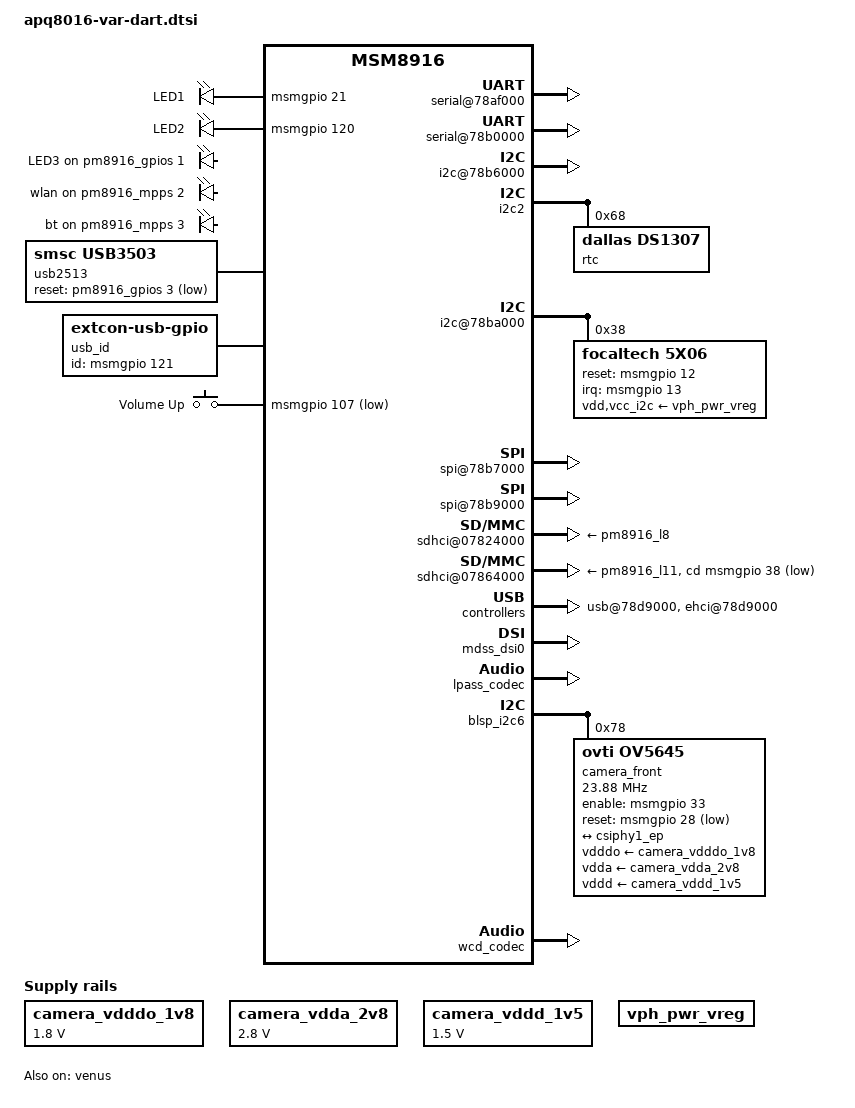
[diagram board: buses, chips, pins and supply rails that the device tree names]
/*
 * Copyright (c) 2015, The Linux Foundation. All rights reserved.
 *
 * This program is free software; you can redistribute it and/or modify
 * it under the terms of the GNU General Public License version 2 and
 * only version 2 as published by the Free Software Foundation.
 *
 * This program is distributed in the hope that it will be useful,
 * but WITHOUT ANY WARRANTY; without even the implied warranty of
 * MERCHANTABILITY or FITNESS FOR A PARTICULAR PURPOSE.  See the
 * GNU General Public License for more details.
 */

#include "msm8916.dtsi"
#include "pm8916.dtsi"
#include "apq8016-var-dart-soc-pins.dtsi"
#include "apq8016-var-dart-pmic-pins.dtsi"
#include <dt-bindings/gpio/gpio.h>
#include <dt-bindings/input/input.h>
#include <dt-bindings/sound/apq8016-lpass.h>

/ {
	aliases {
		serial0 = &blsp1_uart2;
		serial1 = &blsp1_uart1;
		usid0 = &pm8916_0;
		i2c0	= &blsp_i2c2;
		i2c1	= &blsp_i2c6;
		i2c3	= &blsp_i2c4;
		spi0	= &blsp_spi5;
		spi1	= &blsp_spi3;
	};

	chosen {
		stdout-path = "serial0";
	};

	soc {
		dma@7884000 {
			status = "okay";
		};

		serial@78af000 {
			label = "UART0";
			status = "okay";
			pinctrl-names = "default", "sleep";
			pinctrl-0 = <&blsp1_uart1_default>;
			pinctrl-1 = <&blsp1_uart1_sleep>;
		};

		serial@78b0000 {
			label = "UART1";
			status = "okay";
			pinctrl-names = "default", "sleep";
			pinctrl-0 = <&blsp1_uart2_default>;
			pinctrl-1 = <&blsp1_uart2_sleep>;
		};

		i2c@78b6000 {
			label = "I2C0";
			status = "okay";
		};

		i2c2:i2c@78b8000 {
			label = "I2C2";
			status = "okay";

			/* DS1307 RTC module */
 			rtc@0x68 {
				reg = <0x68>;
 				compatible = "dallas,ds1307";
			};
		};

		i2c@78ba000 {
			label = "I2C1";
			status = "okay";

			focaltech@38{
				compatible = "focaltech,5x06";
				reg = <0x38>;
				interrupt-parent = <&msmgpio>;
				interrupts = <13 0x2>;
				vdd-supply = <&vph_pwr_vreg>;
				vcc_i2c-supply = <&vph_pwr_vreg>;
				pinctrl-names = "pmx_ts_active","pmx_ts_suspend";
				pinctrl-0 = <&pmx_ts_int_active &pmx_ts_reset_active>;
				pinctrl-1 = <&pmx_ts_int_suspend &pmx_ts_reset_suspend>;
				focaltech,name = "ft5x06";
				focaltech,family-id = <0x54>;
				focaltech,reset-gpio = <&msmgpio 12 GPIO_ACTIVE_HIGH>;
				focaltech,irq-gpio = <&msmgpio 13 GPIO_ACTIVE_HIGH>;
				focaltech,display-coords = <0 0 800 480>;
				focaltech,hard-reset-delay-ms = <50>;
				focaltech,soft-reset-delay-ms = <50>;
				focaltech,no-force-update;
				focaltech,i2c-pull-up;
				focaltech,group-id = <1>;
				focaltech,hard-reset-delay = <20>;
				focaltech,soft-reset-delay = <150>;
				focaltech,num-max-touches = <2>;
				focaltech,fw-name = "ft_8610_qrd_fw.bin";
				focaltech,fw-delay-aa-ms = <100>;
				focaltech,fw-delay-55-ms = <30>;
				focaltech,fw-upgrade-id1 = <0x79>;
				focaltech,fw-upgrade-id2 = <0x08>;
				focaltech,fw-delay-readid-ms = <10>;
				focaltech,fw-delay-era-flsh-ms = <2000>;
				focaltech,fw-auto-cal;
				focaltech,mirror_h;
				focaltech,mirror_v;
			};
		};

		spi@78b7000 {
			label = "SPI1";
			status = "okay";
			spidev@1 {
				compatible = "spidev";
				spi-max-frequency = <50000000>;
				reg = <0>;
				spi-cpol = <1>;
				spi-cpha = <1>;
				status = "disabled";
			};
		};

		spi@78b9000 {
			label = "SPI0";
			status = "okay";
			spidev@0 {
				compatible = "spidev";
				spi-max-frequency = <50000000>;
				reg = <0>;
				spi-cpol = <1>;
				spi-cpha = <1>;
				status = "disabled";
			};
		};

		leds {
			pinctrl-names = "default";
			pinctrl-0 = <&msmgpio_leds>,
				    <&pm8916_gpios_leds>,
				    <&pm8916_mpps_leds>;

			compatible = "gpio-leds";

			led@1 {
				label = "LED1";
				gpios = <&msmgpio 21 GPIO_ACTIVE_HIGH>;
				linux,default-trigger = "heartbeat";
				default-state = "off";
			};

			led@2 {
				label = "LED2";
				gpios = <&msmgpio 120 GPIO_ACTIVE_HIGH>;
				linux,default-trigger = "mmc0";
				default-state = "off";
			};

			led@3 {
				label = "LED3";
				gpios = <&pm8916_gpios 1 GPIO_ACTIVE_HIGH>;
				linux,default-trigger = "mmc1";
				default-state = "off";
			};

			led@4 {
				label = "LED4";
				gpios = <&pm8916_gpios 2 GPIO_ACTIVE_HIGH>;
				linux,default-trigger = "none";
				default-state = "off";
				status = "disabled";
			};

			led@5 {
				label = "wlan";
				gpios = <&pm8916_mpps 2 GPIO_ACTIVE_HIGH>;
				linux,default-trigger = "phy0rx";
				default-state = "off";
			};

			led@6 {
				label = "bt";
				gpios = <&pm8916_mpps 3 GPIO_ACTIVE_HIGH>;
				linux,default-trigger = "hci0-power";
				default-state = "off";
			};
		};

		sdhci@07824000 {
			vmmc-supply = <&pm8916_l8>;
			vqmmc-supply = <&pm8916_l5>;

			pinctrl-names = "default", "sleep";
			pinctrl-0 = <&sdc1_clk_on &sdc1_cmd_on &sdc1_data_on>;
			pinctrl-1 = <&sdc1_clk_off &sdc1_cmd_off &sdc1_data_off>;
			status = "okay";
		};

		sdhci@07864000 {
			vmmc-supply = <&pm8916_l11>;
			vqmmc-supply = <&pm8916_l12>;

			pinctrl-names = "default", "sleep";
			pinctrl-0 = <&sdc2_clk_on &sdc2_cmd_on &sdc2_data_on &sdc2_cd_on>;
			pinctrl-1 = <&sdc2_clk_off &sdc2_cmd_off &sdc2_data_off &sdc2_cd_off>;

			cd-gpios = <&msmgpio 38 GPIO_ACTIVE_LOW>;
			status = "okay";
		};

		usb@78d9000 {
			extcon = <&usb_id>, <&usb_id>;
			status = "okay";
		};

		ehci@78d9000 {
			status = "okay";
		};

		phy@78d9000 {
			v1p8-supply = <&pm8916_l7>;
			v3p3-supply = <&pm8916_l13>;
			vddcx-supply = <&pm8916_s1>;
			extcon = <&usb_id>, <&usb_id>;
			dr_mode = "otg";
			status = "okay";
			switch-gpio = <&pm8916_gpios 4 GPIO_ACTIVE_HIGH>;
			pinctrl-names = "default";
			pinctrl-0 = <&usb_sw_sel_pm>;
		};

		lpass@07708000 {
			status = "okay";
		};

		mdss@1a00000 {
			status = "okay";

			mdp@1a01000 {
				status = "okay";
			};

			mdss_dsi0:dsi@1a98000 {
				status = "okay";

				vdda-supply = <&pm8916_l2>;
				vddio-supply = <&pm8916_l6>;
			};

			dsi-phy@1a98300 {
				status = "okay";

				vddio-supply = <&pm8916_l6>;
			};
		};

		lpass_codec: codec{
			status = "okay";
		};

		/*
		Internal Codec
			playback - Primary MI2S
			capture - Ter MI2S

		External Primary:
			playback - secondary MI2S
			capture - Quat MI2S

		External Secondary:
			playback - Quat MI2S
			capture - Quat MI2S

		*/

                sound: sound {
                        compatible = "qcom,apq8016-sbc-sndcard";
                        reg = <0x07702000 0x4>, <0x07702004 0x4>;
                        reg-names = "mic-iomux", "spkr-iomux";

                        status = "okay";
                        pinctrl-0 = <&cdc_pdm_lines_act &ext_sec_tlmm_lines_act &ext_mclk_tlmm_lines_act>;
                        pinctrl-1 = <&cdc_pdm_lines_sus &ext_sec_tlmm_lines_sus &ext_mclk_tlmm_lines_sus>;
                        pinctrl-names = "default", "sleep";
                        qcom,model = "DB410c";
                        qcom,audio-routing =
                                "AMIC2", "MIC BIAS Internal2",
                                "AMIC3", "MIC BIAS External1";

                        internal-codec-playback-dai-link@0 {            /* I2S - Internal codec */
                                link-name = "WCD";
                                cpu { /* PRIMARY */
                                        sound-dai = <&lpass MI2S_PRIMARY>;
                                };
                                codec {
                                        sound-dai = <&lpass_codec 0>, <&wcd_codec 0>;
                                };
                        };

                        internal-codec-capture-dai-link@0 {             /* I2S - Internal codec */
                                link-name = "WCD-Capture";
                                cpu { /* PRIMARY */
                                        sound-dai = <&lpass MI2S_TERTIARY>;
                                };
                                codec {
                                        sound-dai = <&lpass_codec 1>, <&wcd_codec 1>;
                                };
                        };
                };

		wcnss@a21b000 {
			status = "okay";
		};

		camera_vdddo_1v8: fixedregulator@0 {
			compatible = "regulator-fixed";
			regulator-name = "camera_vdddo";
			regulator-min-microvolt = <1800000>;
			regulator-max-microvolt = <1800000>;
			regulator-always-on;
		};

		camera_vdda_2v8: fixedregulator@1 {
			compatible = "regulator-fixed";
			regulator-name = "camera_vdda";
			regulator-min-microvolt = <2800000>;
			regulator-max-microvolt = <2800000>;
			regulator-always-on;
		};

		camera_vddd_1v5: fixedregulator@2 {
			compatible = "regulator-fixed";
			regulator-name = "camera_vddd";
			regulator-min-microvolt = <1500000>;
			regulator-max-microvolt = <1500000>;
			regulator-always-on;
		};

		vph_pwr_vreg: vph_pwr_vreg {
			compatible = "regulator-fixed";
			regulator-name = "vph_pwr";
			status = "ok";
			regulator-always-on;
		}; 
	};

	usb2513 {
		compatible = "smsc,usb3503";
		reset-gpios = <&pm8916_gpios 3 GPIO_ACTIVE_LOW>;
		initial-mode = <1>;
	};

	usb_id: usb-id {
		compatible = "linux,extcon-usb-gpio";
		id-gpio = <&msmgpio 121 GPIO_ACTIVE_HIGH>;
		pinctrl-names = "default";
		pinctrl-0 = <&usb_id_default>;
	};

	gpio_keys {
		compatible = "gpio-keys";
		#address-cells = <1>;
		#size-cells = <0>;
		autorepeat;

		pinctrl-names = "default";
		pinctrl-0 = <&msm_key_volp_n_default>;

		button@0 {
			label = "Volume Up";
			linux,code = <KEY_VOLUMEUP>;
			gpios = <&msmgpio 107 GPIO_ACTIVE_LOW>;
		};
	};
};

&camss {
	ports {
		#address-cells = <1>;
		#size-cells = <0>;
		port@0 {
			reg = <0>;
			csiphy0_ep: endpoint {
				status = "disabled";
			};
		};
		port@1 {
			reg = <1>;
			csiphy1_ep: endpoint {
				clock-lanes = <1>;
				data-lanes = <0 2>;
				remote-endpoint = <&ov5645_ep>;
				status = "ok";
			};
		};
	};
};

&blsp_i2c6 {
	status = "ok";

	camera_front@78 {
		compatible = "ovti,ov5645";
		reg = <0x78>;

		enable-gpios = <&msmgpio 33 GPIO_ACTIVE_HIGH>;
		reset-gpios = <&msmgpio 28 GPIO_ACTIVE_LOW>;
		pinctrl-names = "default";
		pinctrl-0 = <&camera_front_default>;

		clocks = <&gcc GCC_CAMSS_MCLK1_CLK>;
		clock-names = "xclk";
		clock-frequency = <23880000>;

		vdddo-supply = <&camera_vdddo_1v8>;
		vdda-supply = <&camera_vdda_2v8>;
		vddd-supply = <&camera_vddd_1v5>;

		status = "ok";

		port {
			ov5645_ep: endpoint {
				clock-lanes = <1>;
				data-lanes = <0 2>;
				remote-endpoint = <&csiphy1_ep>;
			};
		};
	};
};

&wcd_codec {
        status = "okay";
        clocks = <&gcc GCC_CODEC_DIGCODEC_CLK>;
        clock-names = "mclk";
};

&spmi_pon {
	// Overwrite RESETIN_N keyboard scan code
	linux,code = <KEY_VOLUMEDOWN>;
};

&smd_rpm_regulators {
	vdd_l1_l2_l3-supply = <&pm8916_s3>;
	vdd_l5-supply = <&pm8916_s3>;
	vdd_l4_l5_l6-supply = <&pm8916_s4>;
	vdd_l7-supply = <&pm8916_s4>;

	s1 {
		regulator-min-microvolt = <375000>;
		regulator-max-microvolt = <1562000>;
	};

	s3 {
		regulator-min-microvolt = <375000>;
		regulator-max-microvolt = <1562000>;
	};

	s4 {
		regulator-min-microvolt = <1800000>;
		regulator-max-microvolt = <1800000>;

		regulator-always-on;
		regulator-boot-on;
	};

	l1 {
		regulator-min-microvolt = <375000>;
		regulator-max-microvolt = <1525000>;
	};

	l2 {
		regulator-min-microvolt = <1200000>;
		regulator-max-microvolt = <1200000>;
	};

	l3 {
		regulator-min-microvolt = <375000>;
		regulator-max-microvolt = <1525000>;
	};

	l4 {
		regulator-min-microvolt = <1750000>;
		regulator-max-microvolt = <3337000>;
	};

	l5 {
		regulator-min-microvolt = <1750000>;
		regulator-max-microvolt = <3337000>;
	};

	l6 {
		regulator-min-microvolt = <1800000>;
		regulator-max-microvolt = <1800000>;
	};

	l7 {
		regulator-min-microvolt = <1750000>;
		regulator-max-microvolt = <3337000>;
	};

	l8 {
		regulator-min-microvolt = <1750000>;
		regulator-max-microvolt = <3337000>;
	};

	l9 {
		regulator-min-microvolt = <1750000>;
		regulator-max-microvolt = <3337000>;
	};

	l10 {
		regulator-min-microvolt = <1750000>;
		regulator-max-microvolt = <3337000>;
	};

	l11 {
		regulator-min-microvolt = <1750000>;
		regulator-max-microvolt = <3337000>;
	};

	l12 {
		regulator-min-microvolt = <1750000>;
		regulator-max-microvolt = <3337000>;
	};

	l13 {
		regulator-min-microvolt = <1750000>;
		regulator-max-microvolt = <3337000>;
	};

	l14 {
		regulator-min-microvolt = <1750000>;
		regulator-max-microvolt = <3337000>;
	};

	l15 {
		regulator-min-microvolt = <1750000>;
		regulator-max-microvolt = <3337000>;
		regulator-always-on;
	};

	l16 {
		regulator-min-microvolt = <1800000>;
		regulator-max-microvolt = <1800000>;
		regulator-always-on;
	};

	l17 {
		regulator-min-microvolt = <3300000>;
		regulator-max-microvolt = <3300000>;
	};

	l18 {
		regulator-min-microvolt = <1750000>;
		regulator-max-microvolt = <3337000>;
	};
};

&venus {
	status = "okay";
};

&pm8916_0 {
	rtc@6000 {
		status = "disabled";
	};
};
